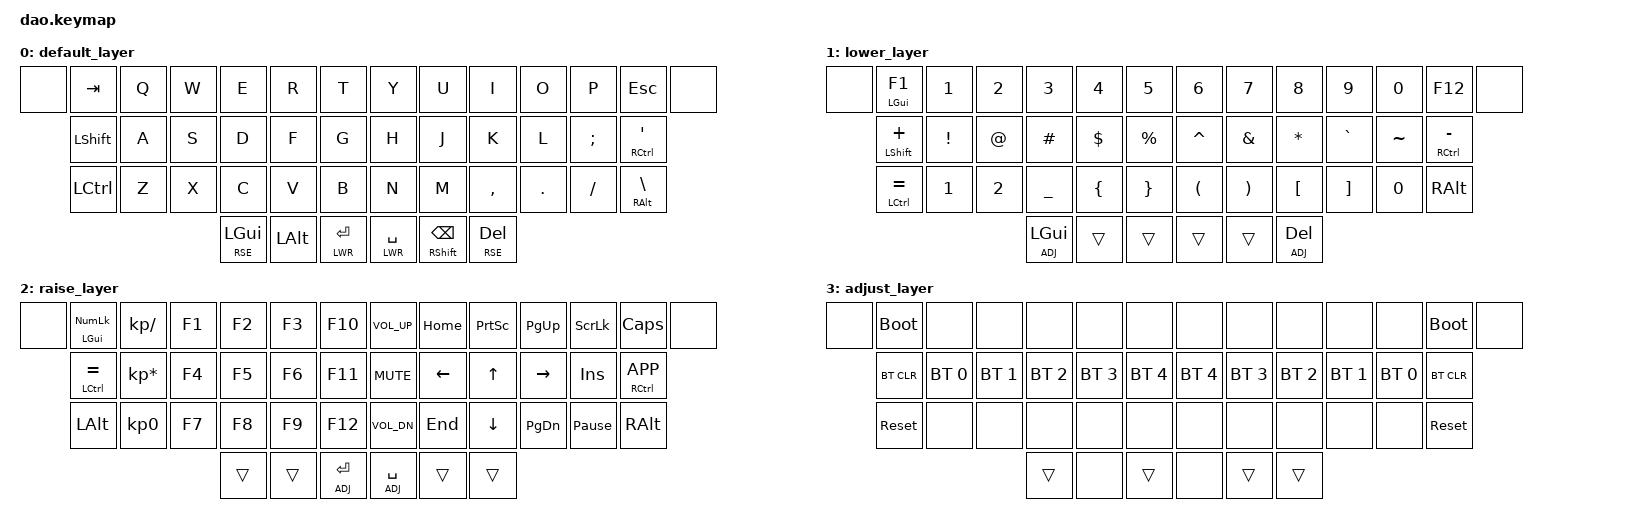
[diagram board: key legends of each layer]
/*
 * Copyright (c) 2021 Rafael Yumagulov
 *
 * SPDX-License-Identifier: MIT
 */

#include <behaviors.dtsi>
#include <dt-bindings/zmk/keys.h>
#include <dt-bindings/zmk/bt.h>

#define DEF 0
#define LWR 1
#define RSE 2
#define ADJ 3

&lt { quick_tap_ms = <200>; };
&mt { quick_tap_ms = <200>; };

/ {
        keymap {
                compatible = "zmk,keymap";

                default_layer {
                        bindings = <
  &none   &kp TAB     &kp Q   &kp W   &kp E         &kp R             &kp T          &kp Y         &kp U            &kp I         &kp O     &kp P      &kp ESC        &none
          &kp LSHIFT   &kp A   &kp S   &kp D         &kp F             &kp G         &kp H         &kp J            &kp K         &kp L     &kp SEMI   &mt RCTRL SQT
          &kp LCTRL    &kp Z   &kp X   &kp C         &kp V             &kp B         &kp N         &kp M            &kp COMMA     &kp DOT   &kp FSLH   &mt RALT BSLH
                                            &lt RSE LGUI   &kp LALT   &lt LWR RET   &lt LWR SPACE   &mt RSHIFT BSPC   &lt RSE DEL
                        >;
                };
                lower_layer {
                        bindings = <
  &none   &mt LGUI F1       &kp N1     &kp N2     &kp N3        &kp N4       &kp N5        &kp N6        &kp N7       &kp N8        &kp N9      &kp N0      &kp F12           &none
          &mt LSHIFT PLUS   &kp EXCL   &kp AT     &kp HASH      &kp DLLR     &kp PRCNT     &kp CARET     &kp AMPS     &kp STAR      &kp GRAVE   &kp TILDE   &mt RCTRL MINUS
          &mt LCTRL EQUAL   &kp N1     &kp N2     &kp UNDER     &kp LBRC     &kp RBRC      &kp LPAR      &kp RPAR     &kp LBKT      &kp RBKT    &kp N0       &kp RALT
                                               &lt ADJ LGUI   &trans     &trans      &trans      &trans     &lt ADJ DEL
                        >;
                };

                raise_layer {
                        bindings = <
  &none   &mt LGUI KP_NUM   &kp KP_SLASH      &kp F1        &kp F2      &kp F3   &kp F10     &kp C_VOL_UP   &kp HOME   &kp PSCRN   &kp PG_UP   &kp SLCK          &kp CLCK           &none
          &mt LCTRL EQUAL   &kp KP_MULTIPLY   &kp F4        &kp F5      &kp F6   &kp F11     &kp C_MUTE     &kp LEFT   &kp UP      &kp RIGHT   &kp INS           &mt RCTRL  K_APP
          &kp LALT          &kp KP_N0         &kp F7        &kp F8      &kp F9   &kp F12     &kp C_VOL_DN   &kp END    &kp DOWN    &kp PG_DN   &kp PAUSE_BREAK   &kp RALT
                                                          &trans      &trans      &lt ADJ RET    &lt ADJ SPACE    &trans     &trans
                        >;
                };
                adjust_layer {
                        bindings = <
  &none   &bootloader   &none          &none          &none          &none          &none          &none          &none          &none          &none          &none          &bootloader   &none
          &bt BT_CLR    &bt BT_SEL 0   &bt BT_SEL 1   &bt BT_SEL 2   &bt BT_SEL 3   &bt BT_SEL 4   &bt BT_SEL 4   &bt BT_SEL 3   &bt BT_SEL 2   &bt BT_SEL 1   &bt BT_SEL 0   &bt BT_CLR
          &sys_reset        &none          &none          &none          &none          &none          &none          &none          &none          &none          &none          &sys_reset
                                                      &trans         &none          &trans         &none          &trans         &trans
                        >;
                };
        };
};
